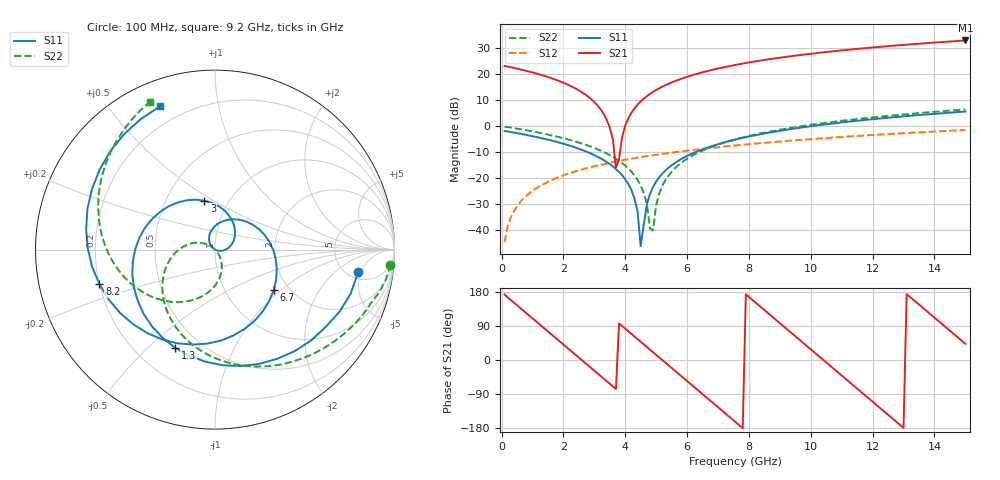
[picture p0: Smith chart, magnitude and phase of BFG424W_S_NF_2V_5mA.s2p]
! Filename BFG424W_2V_5mA.prm
! Simulation_Values
!	! Created	by	janssen	on	Thu	Sep	15	10:02:03	WETDST	2005
!	Column ranking S11, S21,S12,S22 both magnitude and phase.
!	VCE	=	2	V,	IC	=	5	mA
!	Common	Emitter	S-Parameters
#	GHz	S	MA	R	50
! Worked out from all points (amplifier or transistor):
!   150 points, 100 MHz to 15 GHz, reference 50 ohm
!   highest |S21| = 32.9 dB at 15 GHz (marker M1)
!   |S21| within 3 dB of that: 11.71 GHz to end of sweep
!   unconditionally stable (mu >= 1): 3.056 GHz to 4.645 GHz
!   at 2.6 GHz: K = 0.72, MSG = 14.8 dB, |S12| = -16.6 dB
!   at 7.6 GHz: K = 3.41, MSG = 15.5 dB, |S12| = -7.3 dB
!   at 15 GHz: K = 16.43, MSG = 17.2 dB, |S12| = -1.4 dB
!   lowest NFmin = 1.00 dB at 900 MHz
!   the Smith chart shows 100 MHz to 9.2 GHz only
!   S11 on the Smith chart (normalised r, x): 100 MHz: 6.14, -4.41; 1.3 GHz: 0.36, -0.61; 3 GHz: 0.77, +0.46; 6.7 GHz: 1.67, -0.90; 8.2 GHz: 0.20, -0.14; 9.2 GHz: 0.11, +0.68
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0.1  0.807 -8.9  14.29 172.4  0.006 83.1  0.981 -4.9
0.7  0.7 -60.5  11.98 130.7  0.041 58.6  0.86 -32.9
1.3  0.591 -111.9  9.614 89.3  0.074 33.8  0.736 -60.6
2.6  0.353 -223.4  4.494 -0.6  0.148 -19.9  0.466 -120.8
3  0.279 -257.6  2.918 -28.2  0.171 -36.5  0.384 -139.3
4  0.096 -343.4  -1.021 -97.3  0.227 -77.8  0.176 -185.6
5.1  -0.105 -437.7  -5.354 -173.3  0.289 -123.3  -0.051 -236.5
5.9  -0.251 -506.2  -8.505 -228.6  0.334 -156.3  -0.217 -273.6
6.7  -0.398 -574.8  -11.66 -283.9  0.38 -189.4  -0.383 -310.6
7.6  -0.563 -651.9  -15.2 -346.0  0.43 -226.6  -0.569 -352.3
8.2  -0.672 -703.4  -17.57 -387.5  0.464 -251.4  -0.693 -380.0
9.2  -0.855 -789.1  -21.5 -456.6  0.521 -292.8  -0.9 -426.3
9.6  -0.929 -823.4  -23.08 -484.2  0.543 -309.3  -0.983 -444.9
10.1  -1.02 -866.2  -25.05 -518.8  0.572 -330.0  -1.087 -468.0
10.8  -1.148 -926.2  -27.81 -567.2  0.611 -358.9  -1.232 -500.4
11.6  -1.295 -994.8  -30.96 -622.4  0.656 -392.0  -1.397 -537.4
12.1  -1.386 -1037.7  -32.93 -657.0  0.685 -412.6  -1.501 -560.6
12.6  -1.478 -1080.5  -34.9 -691.5  0.713 -433.3  -1.604 -583.7
13.3  -1.606 -1140.5  -37.66 -739.9  0.753 -462.2  -1.749 -616.1
14  -1.734 -1200.5  -40.41 -788.3  0.792 -491.2  -1.894 -648.5
14.5  -1.826 -1243.4  -42.38 -822.8  0.82 -511.8  -1.998 -671.7
15  -1.917 -1286.3  -44.35 -857.4  0.849 -532.5  -2.101 -694.8
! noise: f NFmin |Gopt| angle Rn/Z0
0.9  1  0.28  11.7  0.24
2  1.2  0.22  60.8  0.18
